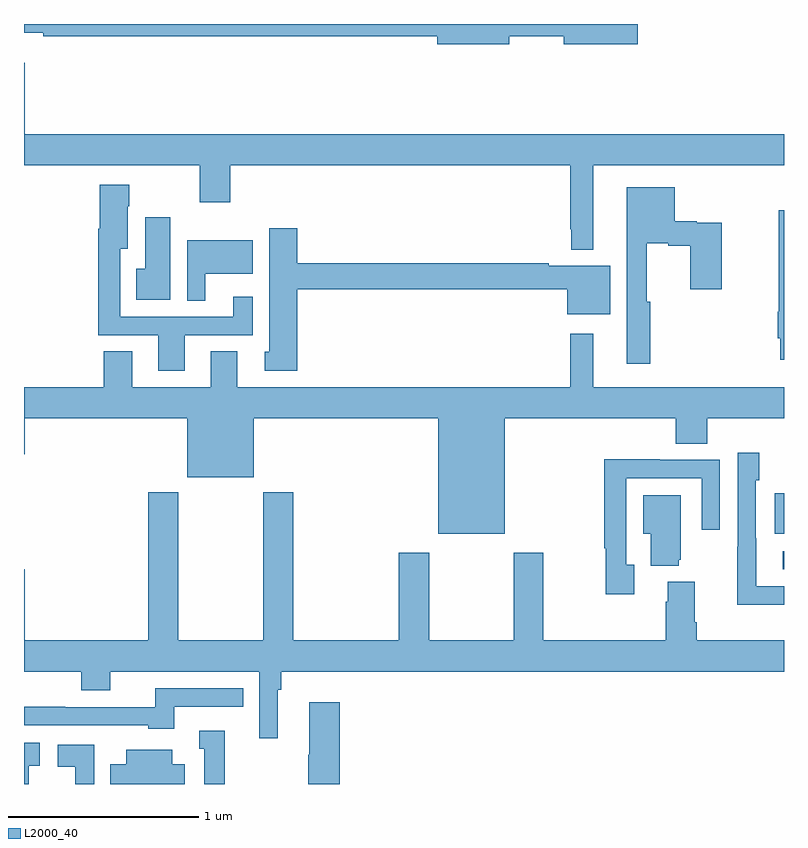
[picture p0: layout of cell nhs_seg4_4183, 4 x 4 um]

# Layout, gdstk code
import gdstk
lib = gdstk.Library(unit=1e-6, precision=1e-09)
def R(c, l, rs):  # rectangles x0, y0, x1, y1
    for r in rs: c.add(gdstk.rectangle(r[:2], r[2:], *l))
def P(c, l, *ps):  # polygons
    for p in ps: c.add(gdstk.Polygon(p, *l))
L2000_40 = (2000, 40)

nhs_seg4_4183 = lib.new_cell('nhs_seg4_4183')
R(nhs_seg4_4183, L2000_40, [(336.993,792.03,337,792.126), (336.95,792.218,337,792.43)])
P(nhs_seg4_4183, L2000_40, [(335.554,794.836),(335.84,794.836),(335.84,794.794),(336.229,794.794),(336.229,794.9),(333,794.9),(333,794.855),(333.1,794.855),(333.1,794.836),(335.174,794.836),(335.174,794.794),(335.554,794.794)],
  [(333.004,794.695),(333,794.695),(333,794.156),(333.925,794.156),(333.925,793.962),(334.085,793.962),(334.085,794.156),(335.874,794.156),(335.874,793.819),(335.88,793.819),(335.88,793.712),(335.995,793.712),(335.995,794.156),(337,794.156),(337,794.32),(333.004,794.32)],
  [(333.847,793.263),(334.204,793.263),(334.204,793.465),(334.1,793.465),(334.1,793.359),(333.507,793.359),(333.507,793.718),(333.547,793.718),(333.547,793.94),(333.555,793.94),(333.555,794.053),(333.398,794.053),(333.398,793.822),(333.391,793.822),(333.391,793.263),(333.707,793.263),(333.707,793.074),(333.847,793.074)],
  [(336.295,793.437),(336.277,793.437),(336.277,793.745),(336.392,793.745),(336.392,793.733),(336.506,793.733),(336.506,793.503),(336.672,793.503),(336.672,793.855),(336.54,793.855),(336.54,793.863),(336.424,793.863),(336.424,794.041),(336.173,794.041),(336.173,793.113),(336.295,793.113)],
  [(337,793.921),(336.973,793.921),(336.973,793.386),(336.968,793.386),(336.968,793.246),(336.98,793.246),(336.98,793.134),(337,793.134)],
  [(333.769,793.882),(333.638,793.882),(333.638,793.613),(333.592,793.613),(333.592,793.448),(333.769,793.448)],
  [(334.439,793.504),(335.858,793.504),(335.858,793.373),(336.085,793.373),(336.085,793.627),(335.762,793.627),(335.762,793.64),(334.439,793.64),(334.439,793.825),(334.292,793.825),(334.292,793.176),(334.268,793.176),(334.268,793.074),(334.439,793.074)],
  [(333.955,793.586),(334.204,793.586),(334.204,793.762),(333.858,793.762),(333.858,793.444),(333.955,793.444)],
  [(335.53,792.824),(336.431,792.824),(336.431,792.691),(336.596,792.691),(336.596,792.824),(337,792.824),(337,792.988),(335.995,792.988),(335.995,793.27),(335.874,793.27),(335.874,792.988),(334.123,792.988),(334.123,793.178),(333.983,793.178),(333.983,792.988),(333.571,792.988),(333.571,793.178),(333.419,793.178),(333.419,792.988),(333,792.988),(333,792.636),(333.004,792.636),(333.004,792.824),(333.86,792.824),(333.86,792.515),(334.21,792.515),(334.21,792.824),(335.18,792.824),(335.18,792.218),(335.53,792.218)],
  [(337,791.94),(336.853,791.94),(336.853,792.194),(336.852,792.194),(336.852,792.498),(336.871,792.498),(336.871,792.643),(336.756,792.643),(336.756,792.149),(336.754,792.149),(336.754,791.843),(337,791.843)],
  [(336.211,792.054),(336.171,792.054),(336.171,792.51),(336.567,792.51),(336.567,792.237),(336.663,792.237),(336.663,792.606),(336.347,792.606),(336.347,792.608),(336.055,792.608),(336.055,792.142),(336.063,792.142),(336.063,791.898),(336.211,791.898)],
  [(337,791.656),(336.542,791.656),(336.542,791.752),(336.529,791.752),(336.529,791.965),(336.389,791.965),(336.389,791.858),(336.377,791.858),(336.377,791.656),(335.733,791.656),(335.733,792.118),(335.578,792.118),(335.578,791.656),(335.133,791.656),(335.133,792.118),(334.973,792.118),(334.973,791.656),(334.418,791.656),(334.418,792.436),(334.258,792.436),(334.258,791.656),(333.813,791.656),(333.813,792.436),(333.653,792.436),(333.653,791.656),(333.004,791.656),(333.004,792.031),(333,792.031),(333,791.492),(333.302,791.492),(333.302,791.393),(333.454,791.393),(333.454,791.492),(334.239,791.492),(334.239,791.142),(334.336,791.142),(334.336,791.396),(334.355,791.396),(334.355,791.492),(337,791.492)],
  [(336.446,792.081),(336.457,792.081),(336.457,792.421),(336.26,792.421),(336.26,792.218),(336.299,792.218),(336.299,792.05),(336.446,792.05)],
  [(333.79,791.307),(334.154,791.307),(334.154,791.403),(333.691,791.403),(333.691,791.304),(333.218,791.304),(333.218,791.306),(333,791.306),(333,791.208),(333.654,791.208),(333.654,791.192),(333.79,791.192)],
  [(334.661,791.329),(334.502,791.329),(334.502,791.054),(334.495,791.054),(334.495,790.9),(334.661,790.9)],
  [(334.057,791.179),(333.923,791.179),(333.923,791.085),(333.948,791.085),(333.948,790.9),(334.057,790.9)],
  [(333.024,790.995),(333.082,790.995),(333.082,791.116),(333,791.116),(333,790.9),(333.024,790.9)],
  [(333.369,791.106),(333.177,791.106),(333.177,790.99),(333.271,790.99),(333.271,790.9),(333.369,790.9)],
  [(333.847,791.005),(333.781,791.005),(333.781,791.08),(333.539,791.08),(333.539,791.005),(333.454,791.005),(333.454,790.9),(333.847,790.9)])

lib.write_gds('nhs_seg4_4183.gds')
